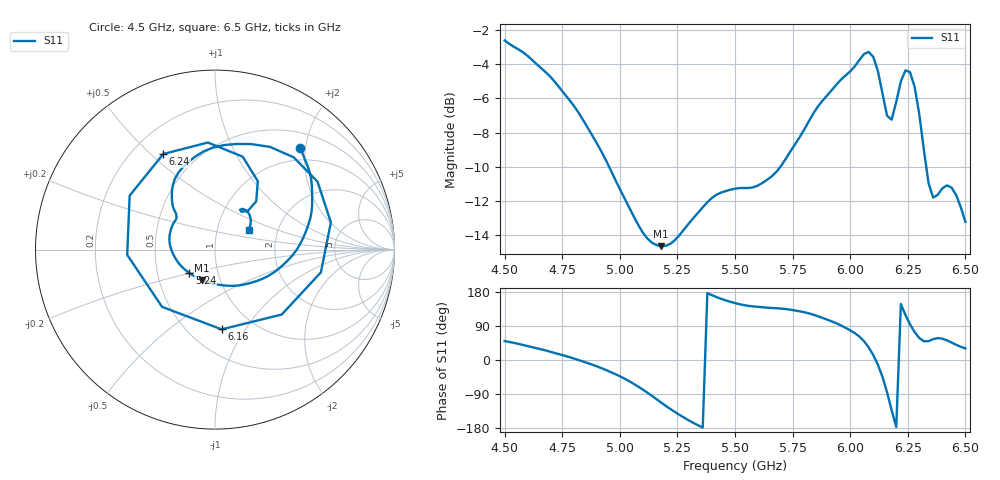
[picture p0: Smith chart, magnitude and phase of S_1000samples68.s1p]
! TOUCHSTONE file generated by CST MICROWAVE STUDIO
! Date and time: Wed Oct 26 21:17:48 2022
! Project name: L.cst
! Parameters = {Di=1.27; Epsilon_r=1.56; InnerDiameter=1.27; Length=2; Lf=10; Lg=60; OuterConductorThickness=0.2921; OuterDiameter=3.6; Wf=3; Wp=41.2; de=1.5; df=6.8; g=0.8; gx=1.40961; gy=1.26574; h=2.34; hf=1.524; px=11.5674; py=12.8058; w=9.7; wx=10.1578; wy=11.54}
! Header version: 2018
! Port assignment regex: !\s*Touchstone port\s*([0-9]+)\s*=\s*(CST MWS port|CST DS port)\s*([0-9]+|Zmin|Zmax)\s*\(\"(.*)\"\)(\s*mode\s*([0-9]+))?.*
! Touchstone port assignment:
! Touchstone port 1 = CST MWS port 1 ("")
# GHz S DB R 50
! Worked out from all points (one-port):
!   101 points, 4.5 GHz to 6.5 GHz, reference 50 ohm
!   lowest |S11| = -14.6 dB at 5.18 GHz (marker M1), VSWR 1.46, Z = 41 - j14.6 ohm
!   |S11| at or under -10 dB: 4.954 GHz to 5.697 GHz (743.2 MHz wide, 14 % of centre); 6.33 GHz to end of sweep
!   S11 on the Smith chart (normalised r, x): 4.5 GHz: 0.76, +1.90; 5.24 GHz: 0.73, -0.20; 6.16 GHz: 0.71, -0.79; 6.24 GHz: 0.33, +0.55; 6.5 GHz: 1.42, +0.33
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4.5  -2.61 50.1
4.62  -3.76 33.7
4.76  -5.74 11.3
5  -11.30 -42.8
5.18  -14.64 -112.5
5.24  -14.28 -137.5
5.26  -13.98 -145.1
5.38  -12.07 176.4
5.5  -11.28 150.3
5.76  -8.70 130.8
5.88  -6.13 111.0
6  -4.42 78.3
6.06  -3.40 49.5
6.1  -3.57 13.2
6.12  -4.39 -12.1
6.14  -5.70 -44.2
6.16  -7.01 -85.2
6.18  -7.24 -132.7
6.2  -6.19 -176.6
6.22  -4.99 147.7
6.24  -4.36 118.4
6.26  -4.47 93.8
6.28  -5.35 73.4
6.3  -6.94 58.0
6.32  -9.02 49.5
6.36  -11.80 54.9
6.44  -11.22 46.1
6.5  -13.22 30.5
